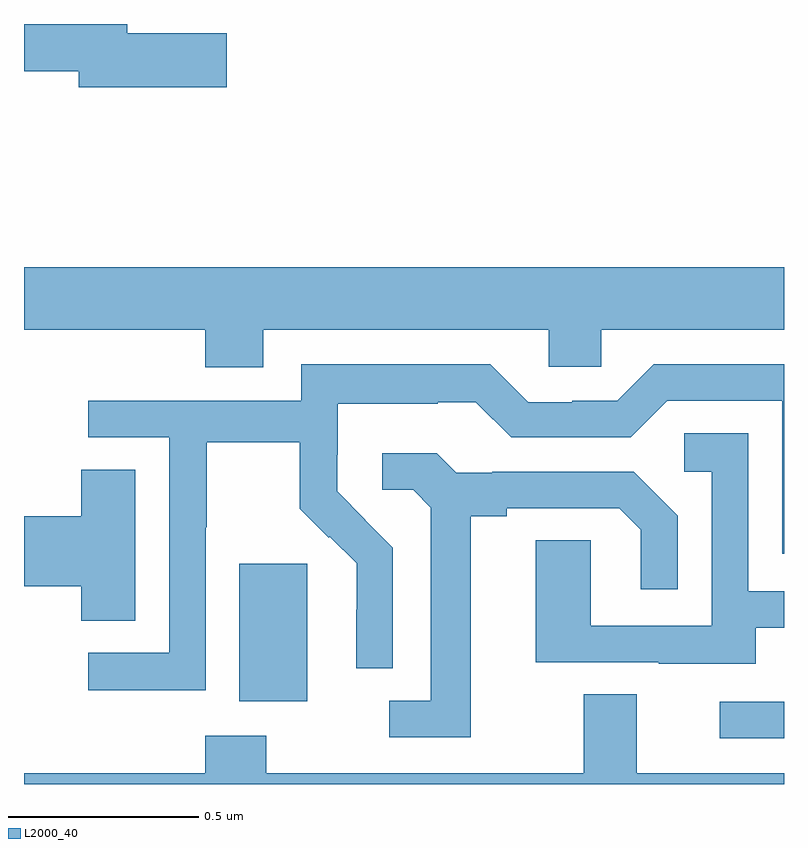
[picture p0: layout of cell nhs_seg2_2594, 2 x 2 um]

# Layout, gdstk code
import gdstk
lib = gdstk.Library(unit=1e-6, precision=1e-09)
def R(c, l, rs):  # rectangles x0, y0, x1, y1
    for r in rs: c.add(gdstk.rectangle(r[:2], r[2:], *l))
def P(c, l, *ps):  # polygons
    for p in ps: c.add(gdstk.Polygon(p, *l))
L2000_40 = (2000, 40)

nhs_seg2_2594 = lib.new_cell('nhs_seg2_2594')
R(nhs_seg2_2594, L2000_40, [(144.831,619.92,145,620.016), (143.567,620.018,143.746,620.379)])
P(nhs_seg2_2594, L2000_40, [(143.533,621.776),(143.272,621.776),(143.272,621.8),(143,621.8),(143,621.676),(143.144,621.676),(143.144,621.634),(143.533,621.634)],
  [(143.629,620.996),(144.381,620.996),(144.381,620.898),(144.519,620.898),(144.519,620.996),(145,620.996),(145,621.16),(143,621.16),(143,620.996),(143.477,620.996),(143.477,620.897),(143.629,620.897)],
  [(143.478,620.476),(143.481,620.476),(143.481,620.7),(143.725,620.7),(143.725,620.525),(143.802,620.448),(143.805,620.451),(143.876,620.381),(143.876,620.258),(143.874,620.258),(143.874,620.104),(143.97,620.104),(143.97,620.422),(143.897,620.495),(143.898,620.496),(143.824,620.57),(143.824,620.667),(143.826,620.667),(143.826,620.801),(144.089,620.801),(144.089,620.805),(144.189,620.805),(144.282,620.712),(144.597,620.712),(144.693,620.808),(144.996,620.808),(144.996,620.406),(145,620.406),(145,620.904),(144.657,620.904),(144.561,620.808),(144.443,620.808),(144.443,620.805),(144.327,620.805),(144.227,620.905),(143.73,620.905),(143.73,620.808),(143.169,620.808),(143.169,620.712),(143.382,620.712),(143.382,620.145),(143.169,620.145),(143.169,620.047),(143.478,620.047)],
  [(144.925,620.211),(145,620.211),(145,620.307),(144.906,620.307),(144.906,620.723),(144.738,620.723),(144.738,620.622),(144.81,620.622),(144.81,620.217),(144.492,620.217),(144.492,620.441),(144.347,620.441),(144.347,620.121),(144.671,620.121),(144.671,620.117),(144.925,620.117)],
  [(144.175,620.504),(144.271,620.504),(144.271,620.526),(144.566,620.526),(144.623,620.469),(144.623,620.313),(144.72,620.313),(144.72,620.506),(144.604,620.622),(144.232,620.622),(144.232,620.619),(144.138,620.619),(144.086,620.671),(143.943,620.671),(143.943,620.574),(144.024,620.574),(144.071,620.527),(144.071,620.019),(143.961,620.019),(143.961,619.923),(144.175,619.923)],
  [(143.293,620.627),(143.15,620.627),(143.15,620.504),(143,620.504),(143,620.321),(143.15,620.321),(143.15,620.23),(143.293,620.23)],
  [(145,619.828),(144.613,619.828),(144.613,620.036),(144.473,620.036),(144.473,619.828),(143.637,619.828),(143.637,619.927),(143.477,619.927),(143.477,619.828),(143,619.828),(143,619.8),(145,619.8)])

lib.write_gds('nhs_seg2_2594.gds')
